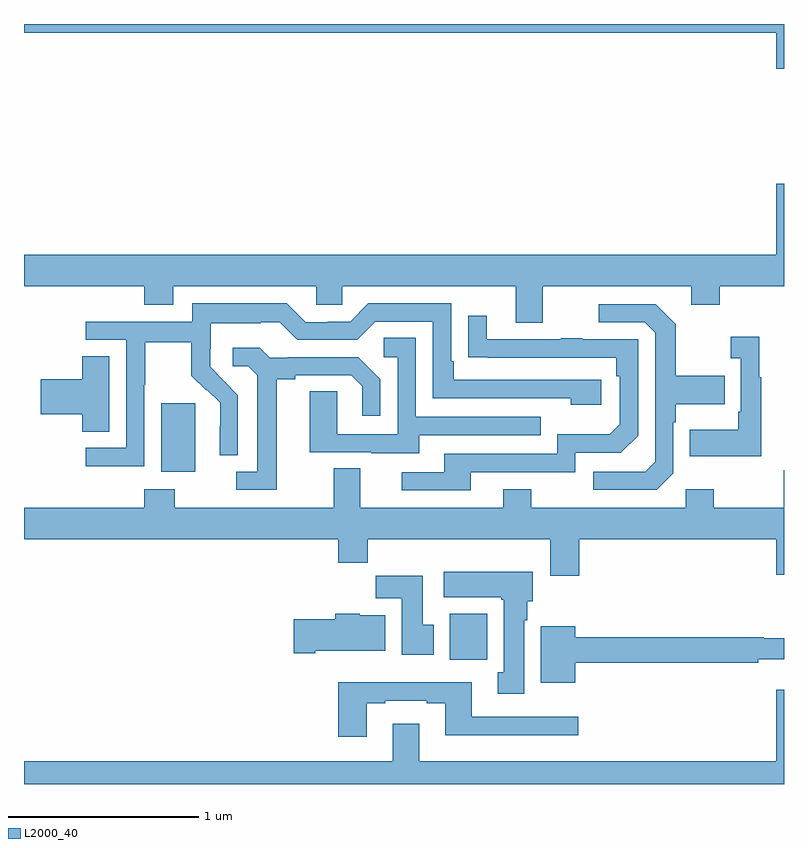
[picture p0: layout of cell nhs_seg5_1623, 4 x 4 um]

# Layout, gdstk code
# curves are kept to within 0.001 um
import gdstk
lib = gdstk.Library(unit=1e-6, precision=1e-09)
def R(c, l, rs):  # rectangles x0, y0, x1, y1
    for r in rs: c.add(gdstk.rectangle(r[:2], r[2:], *l))
def P(c, l, *ps):  # polygons
    for p in ps: c.add(gdstk.Polygon(p, *l))
L2000_40 = (2000, 40)

nhs_seg5_1623 = lib.new_cell('nhs_seg5_1623')
R(nhs_seg5_1623, L2000_40, [(211.241,861.452,211.438,861.694), (209.723,862.442,209.902,862.803)])
P(nhs_seg5_1623, L2000_40, [(213,864.799),(209,864.799),(209,864.752),(212.96,864.752),(212.96,864.564),(213,864.564)],
  [(211.729,863.42),(212.513,863.42),(212.513,863.321),(212.661,863.321),(212.661,863.42),(213,863.42),(213,863.959),(212.96,863.959),(212.96,863.584),(209,863.584),(209,863.42),(209.633,863.42),(209.633,863.321),(209.785,863.321),(209.785,863.42),(210.537,863.42),(210.537,863.322),(210.675,863.322),(210.675,863.42),(211.589,863.42),(211.589,863.226),(211.729,863.226)],
  [(209.634,862.9),(209.637,862.9),(209.637,863.124),(209.881,863.124),(209.881,862.949),(209.958,862.872),(209.961,862.875),(210.032,862.805),(210.032,862.682),(210.03,862.682),(210.03,862.528),(210.126,862.528),(210.126,862.846),(209.98,862.994),(209.98,863.091),(209.982,863.091),(209.982,863.225),(210.245,863.225),(210.245,863.229),(210.345,863.229),(210.438,863.136),(210.753,863.136),(210.849,863.232),(211.152,863.232),(211.152,862.83),(211.877,862.83),(211.877,862.796),(212.038,862.796),(212.038,862.926),(211.261,862.926),(211.261,863.023),(211.248,863.023),(211.248,863.328),(210.813,863.328),(210.717,863.232),(210.599,863.232),(210.599,863.229),(210.483,863.229),(210.383,863.329),(209.886,863.329),(209.886,863.232),(209.325,863.232),(209.325,863.136),(209.538,863.136),(209.538,862.569),(209.325,862.569),(209.325,862.471),(209.634,862.471)],
  [(212.418,862.434),(212.418,862.703),(212.431,862.703),(212.431,862.799),(212.687,862.799),(212.687,862.947),(212.431,862.947),(212.431,863.219),(212.325,863.325),(212.025,863.325),(212.025,863.229),(212.268,863.229),(212.322,863.175),(212.322,862.494),(212.271,862.443),(211.995,862.443),(211.995,862.347),(212.331,862.347)],
  [(211.351,862.44),(211.902,862.44),(211.902,862.542),(212.142,862.542),(212.232,862.632),(212.232,863.139),(211.937,863.139),(211.937,863.144),(211.825,863.144),(211.825,863.139),(211.435,863.139),(211.435,863.263),(211.339,863.263),(211.339,863.044),(212.116,863.043),(212.116,862.946),(212.136,862.946),(212.136,862.692),(212.083,862.639),(211.806,862.639),(211.806,862.536),(211.211,862.536),(211.211,862.44),(210.987,862.44),(210.987,862.344),(211.351,862.344)],
  [(212.881,862.939),(212.869,862.939),(212.869,863.152),(212.721,863.152),(212.721,863.039),(212.772,863.039),(212.772,862.759),(212.76,862.759),(212.76,862.663),(212.503,862.663),(212.503,862.523),(212.881,862.523)],
  [(211.081,862.635),(211.721,862.635),(211.721,862.731),(211.062,862.731),(211.062,863.147),(210.894,863.147),(210.894,863.046),(210.966,863.046),(210.966,862.641),(210.648,862.641),(210.648,862.865),(210.503,862.865),(210.503,862.545),(210.827,862.545),(210.827,862.541),(211.081,862.541)],
  [(210.331,862.928),(210.427,862.928),(210.427,862.95),(210.722,862.95),(210.779,862.893),(210.779,862.737),(210.876,862.737),(210.876,862.93),(210.76,863.046),(210.388,863.046),(210.388,863.043),(210.294,863.043),(210.242,863.095),(210.099,863.095),(210.099,862.998),(210.18,862.998),(210.227,862.951),(210.227,862.443),(210.117,862.443),(210.117,862.347),(210.331,862.347)],
  [(209.449,863.051),(209.306,863.051),(209.306,862.928),(209.088,862.928),(209.088,862.745),(209.306,862.745),(209.306,862.654),(209.449,862.654)],
  [(210.629,862.252),(209.793,862.252),(209.793,862.351),(209.633,862.351),(209.633,862.252),(209,862.252),(209,862.088),(210.653,862.088),(210.653,861.964),(210.809,861.964),(210.809,862.088),(211.769,862.088),(211.769,861.894),(211.922,861.894),(211.922,862.088),(212.96,862.088),(212.96,861.9),(213,861.9),(213,862.451),(212.998,862.451),(212.998,862.252),(212.631,862.252),(212.631,862.351),(212.484,862.351),(212.484,862.252),(211.671,862.252),(211.671,862.351),(211.523,862.351),(211.523,862.252),(210.769,862.252),(210.769,862.46),(210.629,862.46)],
  [(211.633,861.662),(211.648,861.662),(211.648,861.762),(211.678,861.762),(211.678,861.916),(211.209,861.916),(211.209,861.782),(211.513,861.782),(211.513,861.769),(211.526,861.769),(211.526,861.386),(211.493,861.386),(211.493,861.273),(211.633,861.273)],
  [(211.156,861.636),(211.099,861.636),(211.099,861.895),(210.85,861.895),(210.85,861.776),(210.989,861.776),(210.989,861.48),(211.156,861.48)],
  [(210.532,861.5),(210.901,861.5),(210.901,861.688),(210.768,861.688),(210.768,861.694),(210.638,861.694),(210.638,861.666),(210.42,861.666),(210.42,861.488),(210.532,861.488)],
  [(211.9,861.436),(212.864,861.436),(212.864,861.455),(213,861.455),(213,861.565),(212.893,861.565),(212.893,861.572),(211.9,861.572),(211.9,861.628),(211.721,861.628),(211.721,861.332),(211.9,861.332)],
  [(210.805,861.225),(210.901,861.225),(210.901,861.237),(211.121,861.237),(211.121,861.225),(211.217,861.225),(211.217,861.056),(211.918,861.056),(211.918,861.153),(211.357,861.153),(211.357,861.334),(210.653,861.334),(210.653,861.048),(210.805,861.048)],
  [(213,861.295),(212.96,861.295),(212.96,860.92),(211.081,860.92),(211.081,861.115),(210.941,861.115),(210.941,860.92),(209,860.92),(209,860.799),(213,860.799)])

lib.write_gds('nhs_seg5_1623.gds')
